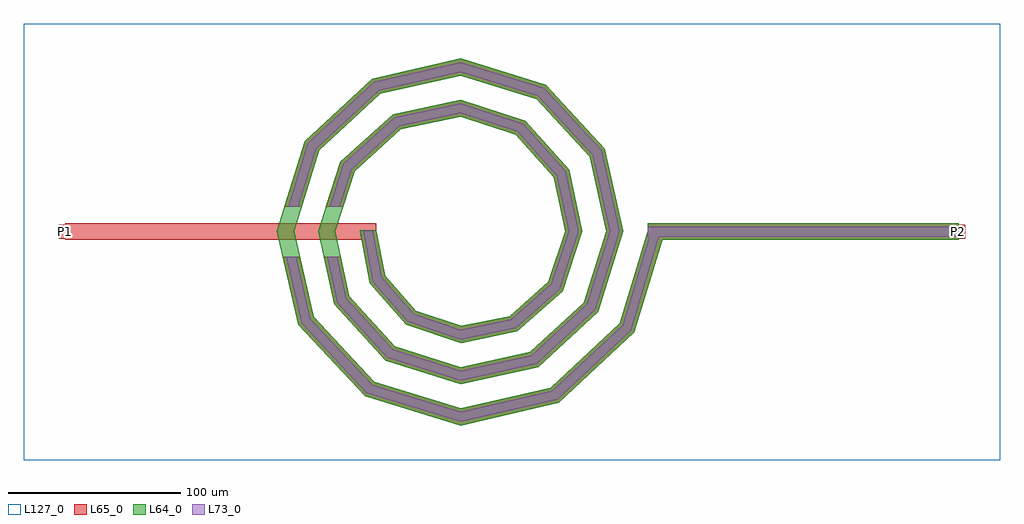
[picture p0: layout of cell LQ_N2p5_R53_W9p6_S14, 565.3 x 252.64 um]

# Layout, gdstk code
import gdstk
lib = gdstk.Library(unit=1e-6, precision=1e-09)
def R(c, l, rs):  # rectangles x0, y0, x1, y1
    for r in rs: c.add(gdstk.rectangle(r[:2], r[2:], *l))
def P(c, l, *ps):  # polygons
    for p in ps: c.add(gdstk.Polygon(p, *l))
L64_0 = (64, 0)
L65_0 = (65, 0)
L73_0 = (73, 0)
L127_0 = (127, 0)

lq_n2p5_r53_w9p6_s14 = lib.new_cell('LQ_N2p5_R53_W9p6_S14')
R(lq_n2p5_r53_w9p6_s14, L64_0, [(108.488,-4.8,288.488,4.8)])
P(lq_n2p5_r53_w9p6_s14, L64_0, [(-43.689,-25.606),(-26.037,-45.737),(0.309,-54.616),(28.562,-48.872),(50.889,-29.046),(60.583,0.281),(54.052,31.522),(32.051,56.044),(0.258,66.549),(-34.486,59.231),(-61.201,35.052),(-72.516,0.238),(-64.408,-37.454),(-38.051,-66.359),(0.221,-78.484),(40.423,-69.584),(71.519,-41.048),(84.451,0.206),(74.758,43.395),(44.044,76.681),(0.193,90.418),(-46.368,79.933),(-81.843,47.038),(-96.386,0.182),(-85.106,-49.342),(-50.03,-87.005),(0.172,-102.353),(52.317,-90.279),(92.169,-53.022),(108.695,1.395),(117.881,-1.395),(100.606,-58.276),(56.992,-99.05),(0.172,-112.287),(-55.3,-95.433),(-93.887,-54),(-106.319,0.182),(-90.259,52.325),(-51.006,88.724),(0.193,100.351),(49.351,85.084),(83.561,48.011),(94.382,0.206),(79.909,-46.379),(45.015,-78.399),(0.221,-88.414),(-43.408,-74.732),(-73.239,-42.017),(-82.445,0.238),(-69.555,40.439),(-39.016,68.079),(0.258,76.477),(37.473,64.375),(62.921,36.012),(70.508,0.281),(59.193,-34.51),(33.005,-57.765),(0.309,-64.538),(-31.551,-54.009),(-52.611,-29.992),(-58.32,0.925),(-48.899,0.925)])
R(lq_n2p5_r53_w9p6_s14, L65_0, [(-228.81,-4.8,-48.81,4.8), (108.488,-4.8,288.488,4.8), (-232.81,-4,-224.81,4), (284.488,-4,292.488,4)])
P(lq_n2p5_r53_w9p6_s14, L65_0, [(-85.106,-49.342),(-50.031,-87.005),(0.172,-102.353),(52.317,-90.279),(92.169,-53.022),(108.695,1.395),(117.881,-1.395),(100.606,-58.276),(56.992,-99.051),(0.172,-112.287),(-55.3,-95.433),(-93.887,-54),(-102.973,-14.4),(-93.123,-14.4)],
  [(-64.408,-37.454),(-38.051,-66.359),(0.221,-78.484),(40.423,-69.584),(71.519,-41.048),(84.451,0.206),(74.758,43.395),(44.044,76.681),(0.193,90.418),(-46.368,79.933),(-81.843,47.038),(-91.895,14.4),(-101.94,14.4),(-90.259,52.325),(-51.006,88.724),(0.193,100.351),(49.352,85.085),(83.561,48.011),(94.382,0.206),(79.909,-46.379),(45.015,-78.399),(0.221,-88.414),(-43.408,-74.733),(-73.239,-42.017),(-79.256,-14.4),(-69.431,-14.4)],
  [(-26.037,-45.737),(0.309,-54.616),(28.562,-48.872),(50.889,-29.046),(60.583,0.281),(54.052,31.522),(32.051,56.044),(0.258,66.549),(-34.486,59.231),(-61.201,35.052),(-67.823,14.4),(-77.904,14.4),(-69.555,40.439),(-39.016,68.079),(0.258,76.477),(37.473,64.375),(62.921,36.012),(70.508,0.281),(59.193,-34.51),(33.005,-57.765),(0.309,-64.538),(-31.551,-54.009),(-52.611,-29.992),(-58.32,0.925),(-48.899,0.925),(-43.689,-25.606)])
R(lq_n2p5_r53_w9p6_s14, L73_0, [(108.488,-2.8,288.488,2.8)])
P(lq_n2p5_r53_w9p6_s14, L73_0, [(-86.935,-50.312),(-51.128,-88.761),(0.1,-104.423),(53.291,-92.106),(93.927,-54.117),(110.609,0.814),(115.967,0.814),(98.848,-57.182),(56.018,-97.223),(0.1,-110.217),(-54.202,-93.677),(-92.057,-53.029),(-100.921,-14.4),(-95.175,-14.4)],
  [(-66.247,-38.404),(-39.167,-68.104),(0.129,-80.552),(41.38,-71.42),(73.267,-42.159),(86.52,0.12),(76.592,44.356),(45.149,78.431),(0.113,92.488),(-47.334,81.764),(-83.596,48.139),(-93.987,14.4),(-99.847,14.4),(-88.506,51.224),(-50.04,86.892),(0.113,98.281),(48.246,83.334),(81.727,47.049),(92.313,0.12),(78.161,-45.268),(44.058,-76.563),(0.129,-86.345),(-42.292,-72.988),(-71.399,-41.066),(-77.209,-14.4),(-71.478,-14.4)],
  [(-27.186,-47.46),(0.18,-56.683),(29.487,-50.724),(52.619,-30.184),(62.65,0.164),(55.9,32.458),(33.18,57.779),(0.15,68.618),(-35.43,61.074),(-62.941,36.175),(-69.923,14.4),(-75.804,14.4),(-67.814,39.317),(-38.072,66.236),(0.15,74.408),(36.343,62.639),(61.073,35.077),(68.44,0.164),(57.463,-33.372),(32.079,-55.912),(0.18,-62.471),(-30.402,-52.285),(-50.752,-29.079),(-56.357,0.54),(-50.862,0.54),(-45.548,-26.52)])
R(lq_n2p5_r53_w9p6_s14, L127_0, [(-252.81,-132.287,312.488,120.351)])
lq_n2p5_r53_w9p6_s14.add(gdstk.Label('P2', (288.488,0), layer=65, texttype=0))
lq_n2p5_r53_w9p6_s14.add(gdstk.Label('P1', (-228.81,0), layer=65, texttype=0))
lq_n2p5_r53_w9p6_s14.add(gdstk.Label('P2', (292.488,0), layer=145, texttype=0))
lq_n2p5_r53_w9p6_s14.add(gdstk.Label('P1', (-232.81,0), layer=145, texttype=0))

lib.write_gds('LQ_N2p5_R53_W9p6_S14.gds')
